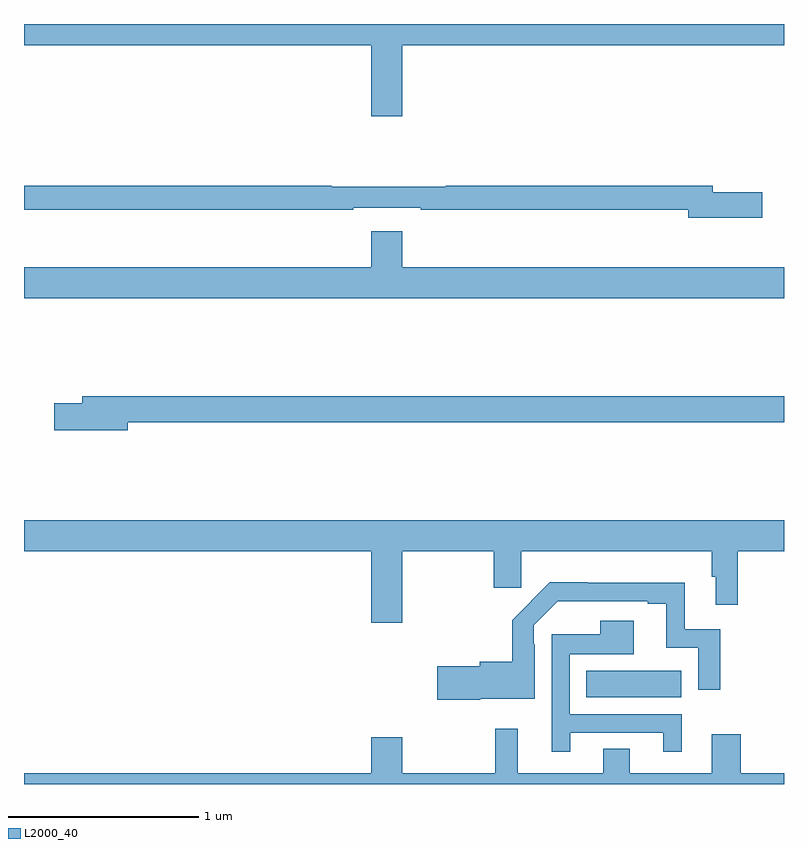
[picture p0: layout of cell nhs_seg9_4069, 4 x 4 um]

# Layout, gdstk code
import gdstk
lib = gdstk.Library(unit=1e-6, precision=1e-09)
def R(c, l, rs):  # rectangles x0, y0, x1, y1
    for r in rs: c.add(gdstk.rectangle(r[:2], r[2:], *l))
def P(c, l, *ps):  # polygons
    for p in ps: c.add(gdstk.Polygon(p, *l))
L2000_40 = (2000, 40)

nhs_seg9_4069 = lib.new_cell('nhs_seg9_4069')
R(nhs_seg9_4069, L2000_40, [(345.958,1224.956,346.459,1225.096)])
P(nhs_seg9_4069, L2000_40, [(344.992,1228.388),(347,1228.388),(347,1228.5),(343,1228.5),(343,1228.388),(344.828,1228.388),(344.828,1228.014),(344.992,1228.014)],
  [(346.885,1227.614),(346.624,1227.614),(346.624,1227.65),(345.22,1227.65),(345.22,1227.643),(344.62,1227.643),(344.62,1227.65),(343,1227.65),(343,1227.522),(344.732,1227.522),(344.732,1227.534),(345.088,1227.534),(345.088,1227.522),(346.496,1227.522),(346.496,1227.479),(346.885,1227.479)],
  [(347,1227.22),(344.992,1227.22),(344.992,1227.409),(344.828,1227.409),(344.828,1227.22),(343,1227.22),(343,1227.056),(347,1227.056)],
  [(343.546,1226.404),(347,1226.404),(347,1226.54),(343.307,1226.54),(343.307,1226.504),(343.158,1226.504),(343.158,1226.362),(343.546,1226.362)],
  [(344.992,1225.724),(345.472,1225.724),(345.472,1225.533),(345.617,1225.533),(345.617,1225.724),(346.621,1225.724),(346.621,1225.592),(346.64,1225.592),(346.64,1225.443),(346.757,1225.443),(346.757,1225.724),(347,1225.724),(347,1225.888),(343,1225.888),(343,1225.724),(344.828,1225.724),(344.828,1225.35),(344.992,1225.35)],
  [(345.402,1224.95),(345.687,1224.95),(345.687,1225.235),(345.684,1225.235),(345.684,1225.335),(345.81,1225.461),(346.283,1225.461),(346.283,1225.449),(346.379,1225.449),(346.379,1225.218),(346.548,1225.218),(346.548,1224.996),(346.664,1224.996),(346.664,1225.314),(346.477,1225.314),(346.477,1225.558),(345.965,1225.558),(345.965,1225.561),(345.766,1225.561),(345.569,1225.363),(345.569,1225.144),(345.398,1225.144),(345.398,1225.121),(345.174,1225.121),(345.174,1224.943),(345.402,1224.943)],
  [(345.874,1224.771),(346.364,1224.771),(346.364,1224.669),(346.462,1224.669),(346.462,1224.867),(345.873,1224.867),(345.873,1225.184),(346.21,1225.184),(346.21,1225.36),(346.034,1225.36),(346.034,1225.288),(345.777,1225.288),(345.777,1224.669),(345.874,1224.669)],
  [(347,1224.556),(346.772,1224.556),(346.772,1224.763),(346.619,1224.763),(346.619,1224.556),(346.189,1224.556),(346.189,1224.686),(346.049,1224.686),(346.049,1224.556),(345.599,1224.556),(345.599,1224.79),(345.481,1224.79),(345.481,1224.556),(344.992,1224.556),(344.992,1224.745),(344.828,1224.745),(344.828,1224.556),(343,1224.556),(343,1224.5),(347,1224.5)])

lib.write_gds('nhs_seg9_4069.gds')
